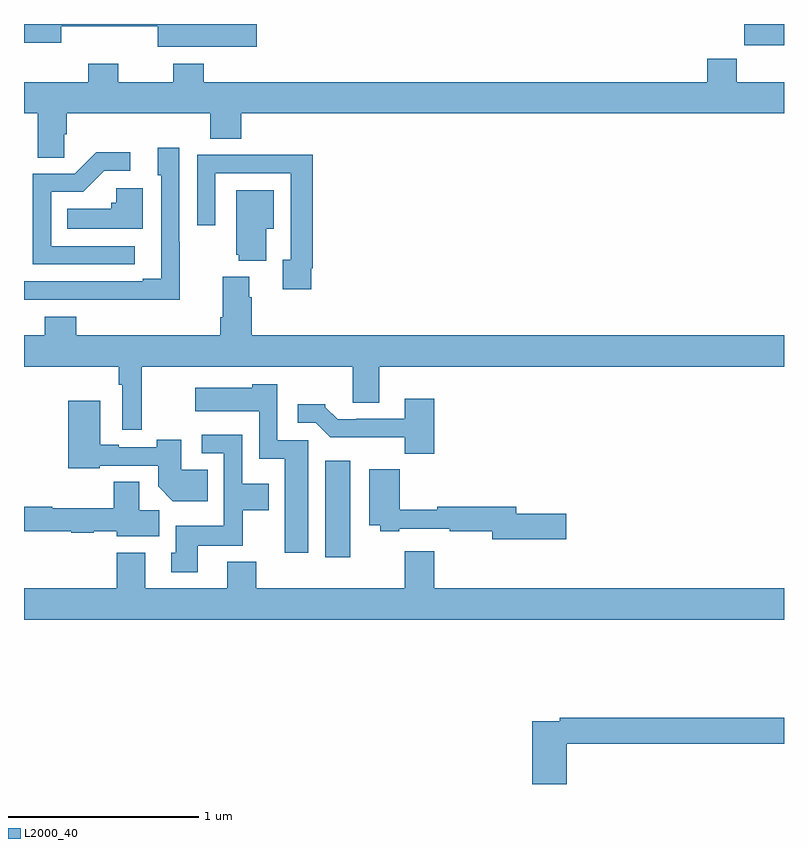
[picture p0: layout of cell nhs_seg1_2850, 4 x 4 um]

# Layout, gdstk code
import gdstk
lib = gdstk.Library(unit=1e-6, precision=1e-09)
def R(c, l, rs):  # rectangles x0, y0, x1, y1
    for r in rs: c.add(gdstk.rectangle(r[:2], r[2:], *l))
def P(c, l, *ps):  # polygons
    for p in ps: c.add(gdstk.Polygon(p, *l))
L2000_40 = (2000, 40)

nhs_seg1_2850 = lib.new_cell('nhs_seg1_2850')
R(nhs_seg1_2850, L2000_40, [(266.585,553.392,266.716,553.9), (268.792,556.086,269,556.199)])
P(nhs_seg1_2850, L2000_40, [(266.224,556.199),(265,556.199),(265,556.1),(265.195,556.1),(265.195,556.187),(265.704,556.187),(265.704,556.079),(266.224,556.079)],
  [(265.212,555.619),(265.226,555.619),(265.226,555.728),(265.979,555.728),(265.979,555.595),(266.144,555.595),(266.144,555.728),(269,555.728),(269,555.892),(268.751,555.892),(268.751,556.016),(268.595,556.016),(268.595,555.892),(265.946,555.892),(265.946,555.991),(265.786,555.991),(265.786,555.892),(265.497,555.892),(265.497,555.991),(265.337,555.991),(265.337,555.892),(265,555.892),(265,555.728),(265.073,555.728),(265.073,555.496),(265.212,555.496)],
  [(265.821,555.053),(265.818,555.053),(265.818,555.547),(265.703,555.547),(265.703,555.402),(265.722,555.402),(265.722,554.857),(265.625,554.857),(265.625,554.844),(265,554.844),(265,554.748),(265.357,554.748),(265.357,554.747),(265.821,554.747)],
  [(265.582,555.03),(265.143,555.03),(265.143,555.315),(265.312,555.315),(265.423,555.426),(265.558,555.426),(265.558,555.524),(265.379,555.524),(265.266,555.411),(265.047,555.411),(265.047,554.934),(265.582,554.934)],
  [(266.512,554.914),(266.519,554.914),(266.519,555.512),(266.227,555.512),(266.227,555.51),(265.911,555.51),(265.911,555.141),(266.007,555.141),(266.007,555.414),(266.403,555.414),(266.403,554.958),(266.363,554.958),(266.363,554.802),(266.512,554.802)],
  [(265.624,555.334),(265.485,555.334),(265.485,555.258),(265.459,555.258),(265.459,555.226),(265.228,555.226),(265.228,555.122),(265.624,555.122)],
  [(266.275,555.122),(266.314,555.122),(266.314,555.325),(266.117,555.325),(266.117,554.985),(266.129,554.985),(266.129,554.954),(266.275,554.954)],
  [(265.619,554.396),(266.729,554.396),(266.729,554.206),(266.869,554.206),(266.869,554.396),(269,554.396),(269,554.56),(266.198,554.56),(266.198,554.762),(266.185,554.762),(266.185,554.869),(266.045,554.869),(266.045,554.656),(266.033,554.656),(266.033,554.56),(265.274,554.56),(265.274,554.659),(265.109,554.659),(265.109,554.56),(265,554.56),(265,554.396),(265.498,554.396),(265.498,554.3),(265.518,554.3),(265.518,554.064),(265.619,554.064)],
  [(266.497,554.007),(266.334,554.007),(266.334,554.302),(266.202,554.302),(266.202,554.284),(265.902,554.284),(265.902,554.162),(266.238,554.162),(266.238,553.91),(266.372,553.91),(266.372,553.416),(266.497,553.416)],
  [(267.158,554.227),(267.005,554.227),(267.005,554.121),(266.749,554.121),(266.749,554.118),(266.65,554.118),(266.586,554.182),(266.586,554.197),(266.442,554.197),(266.442,554.1),(266.535,554.1),(266.611,554.024),(267.003,554.024),(267.003,553.937),(267.158,553.937)],
  [(265.967,553.852),(265.828,553.852),(265.828,554.01),(265.699,554.01),(265.699,553.971),(265.498,553.971),(265.498,553.984),(265.402,553.984),(265.402,554.215),(265.232,554.215),(265.232,553.862),(265.398,553.862),(265.398,553.875),(265.706,553.875),(265.706,553.766),(265.784,553.688),(265.967,553.688)],
  [(265.915,553.454),(266.151,553.454),(266.151,553.64),(266.287,553.64),(266.287,553.78),(266.148,553.78),(266.148,554.037),(265.935,554.037),(265.935,553.941),(266.052,553.941),(266.052,553.558),(265.799,553.558),(265.799,553.416),(265.775,553.416),(265.775,553.314),(265.915,553.314)],
  [(267.853,553.622),(267.592,553.622),(267.592,553.658),(267.176,553.658),(267.176,553.643),(266.978,553.643),(266.978,553.855),(266.816,553.855),(266.816,553.562),(266.874,553.562),(266.874,553.53),(266.974,553.53),(266.974,553.542),(267.241,553.542),(267.241,553.53),(267.464,553.53),(267.464,553.487),(267.853,553.487)],
  [(265.711,553.64),(265.606,553.64),(265.606,553.789),(265.472,553.789),(265.472,553.651),(265.148,553.651),(265.148,553.658),(265,553.658),(265,553.53),(265.248,553.53),(265.248,553.522),(265.368,553.522),(265.368,553.529),(265.488,553.529),(265.488,553.502),(265.711,553.502)],
  [(269,553.228),(267.158,553.228),(267.158,553.423),(267.005,553.423),(267.005,553.228),(266.222,553.228),(266.222,553.369),(266.069,553.369),(266.069,553.228),(265.639,553.228),(265.639,553.417),(265.487,553.417),(265.487,553.228),(265,553.228),(265,553.064),(269,553.064)],
  [(267.857,552.412),(269,552.412),(269,552.548),(267.82,552.548),(267.82,552.528),(267.674,552.528),(267.674,552.199),(267.857,552.199)])

lib.write_gds('nhs_seg1_2850.gds')
